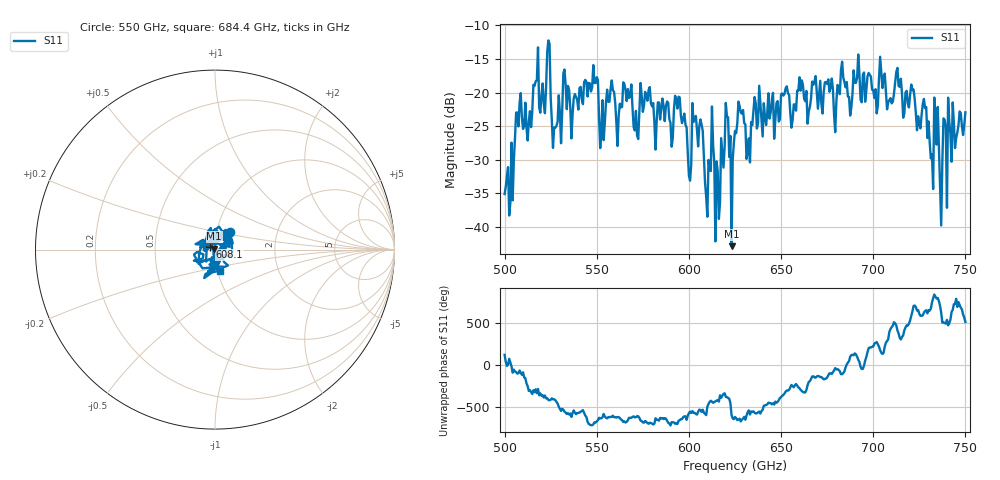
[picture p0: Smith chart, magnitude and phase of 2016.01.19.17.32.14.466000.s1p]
!Created with skrf (http://scikit-rf.org).
# GHz S RI R 50.0
!freq ReS11 ImS11
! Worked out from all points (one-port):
!   401 points, 500 GHz to 750 GHz, reference 50 ohm
!   lowest |S11| = -42.9 dB at 623.1 GHz (marker M1), VSWR 1.01, Z = 49.6 + j0.589 ohm
!   |S11| at or under -10 dB: start of sweep to end of sweep
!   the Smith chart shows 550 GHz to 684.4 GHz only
!   S11 on the Smith chart (normalised r, x): 550 GHz: 1.16, +0.23; 608.1 GHz: 0.94, +0.03; 684.4 GHz: 1.03, -0.24
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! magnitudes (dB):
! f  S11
! 500 GHz  -35.1
! 516.9 GHz  -18.3
! 520.6 GHz  -18.6
! 523.8 GHz  -12.2
! 526.9 GHz  -25.2
! 531.2 GHz  -22.7
! 550 GHz  -17.7
! 552.5 GHz  -25.6
! 558.1 GHz  -18.2
! 562.5 GHz  -21.7
! 593.8 GHz  -22.4
! 600 GHz  -32.4
! 603.1 GHz  -23.8
! 608.1 GHz  -29.7
! 610 GHz  -38.5
! 612.5 GHz  -22.1
! 615.6 GHz  -31.7
! 621.2 GHz  -23.7
! 623.1 GHz  -42.9
! 625 GHz  -25.7
! 656.2 GHz  -24.1
! 684.4 GHz  -18.4
! 687.5 GHz  -23.4
! 718.8 GHz  -21.6
! 731.2 GHz  -29.8
! 734.4 GHz  -27.8
! 736.9 GHz  -39.8
! 750 GHz  -22.9
